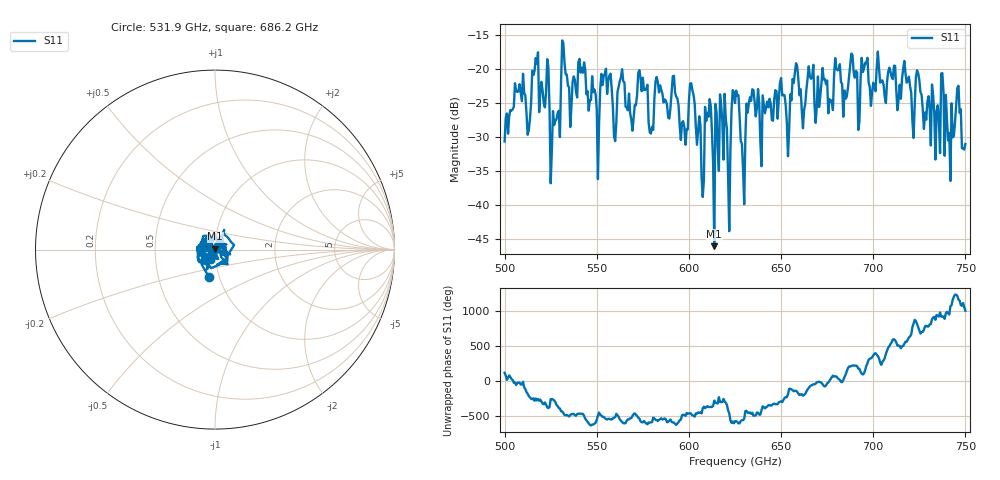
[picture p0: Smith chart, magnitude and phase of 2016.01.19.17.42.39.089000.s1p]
!Created with skrf (http://scikit-rf.org).
# GHz S RI R 50.0
!freq ReS11 ImS11
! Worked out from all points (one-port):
!   401 points, 500 GHz to 750 GHz, reference 50 ohm
!   lowest |S11| = -46.0 dB at 613.8 GHz (marker M1), VSWR 1.01, Z = 50.1 + j0.489 ohm
!   |S11| at or under -10 dB: start of sweep to end of sweep
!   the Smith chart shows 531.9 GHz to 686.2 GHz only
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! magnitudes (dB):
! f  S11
! 500 GHz  -30.6
! 506.9 GHz  -23.3
! 513.1 GHz  -28.9
! 516.9 GHz  -18.3
! 526.2 GHz  -26.1
! 531.2 GHz  -15.8
! 550 GHz  -25.9
! 562.5 GHz  -21.7
! 569.4 GHz  -29.0
! 573.8 GHz  -21.3
! 579.4 GHz  -29.4
! 583.1 GHz  -21.8
! 593.8 GHz  -24.3
! 606.9 GHz  -35.9
! 610.6 GHz  -27.0
! 613.8 GHz  -46.0
! 618.1 GHz  -27.7
! 621.9 GHz  -43.8
! 625 GHz  -25.0
! 629.4 GHz  -34.7
! 633.8 GHz  -24.6
! 653.8 GHz  -32.8
! 656.2 GHz  -21.4
! 687.5 GHz  -19.4
! 718.8 GHz  -21.7
! 741.9 GHz  -36.4
! 746.2 GHz  -22.4
! 750 GHz  -31.0
